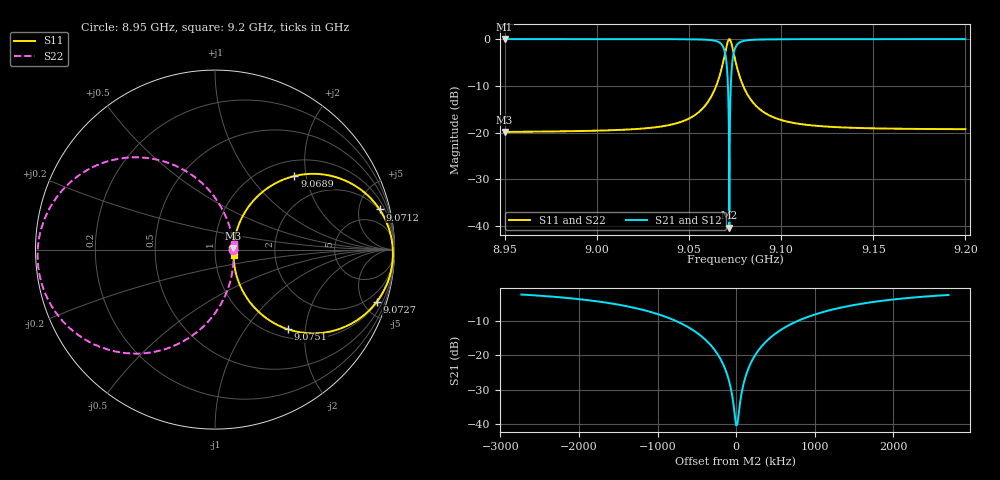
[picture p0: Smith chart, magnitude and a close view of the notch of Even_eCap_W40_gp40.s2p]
! Sonnet Data File
! From: emgraph Version : 16.52
! From Project: Resonator2_extremeCap
! Data is De-embedded
! Data File Written: 10/11/2017 17:55:29
!< HDATE 10/10/2017 20:37:37
!< MDATE 10/10/2017 20:37:37
!< PARAMS
!< Pwid1 = 2000.0
!< Pwid2 = 2000.0
!< Air_gap = 24.0
!< Width = 40.0
!< Gap = 40.0
!< END PARAMS
# GHZ S MA R 50.70000
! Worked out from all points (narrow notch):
!   1844 points, 8.95 GHz to 9.2 GHz, reference 50.7 ohm
!   highest |S21| = -0.05 dB at 8.95 GHz (marker M1); lowest = -40.3 dB at 9.0719 GHz (marker M2)
!   notch at M2: 40.2 dB deep, 456 kHz wide at half that depth
!   lowest |S11| = -19.9 dB at 8.95 GHz (marker M3), VSWR 1.23, Z = 62.1 + j1.11 ohm
!   |S11| at or under -10 dB: start of sweep to 9.0648 GHz; 9.0794 GHz to end of sweep
!   |S22| runs from -19.9 to -0.1 dB; largest |S21 - S12| = 0
!   S11 on the Smith chart (normalised r, x): 8.95 GHz: 1.22, +0.02; 9.0689 GHz: 1.33, +1.71; 9.0712 GHz: 1.92, +7.87; 9.0727 GHz: 1.09, -6.18; 9.0751 GHz: 1.16, -1.61; 9.2 GHz: 1.23, -0.07
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8.95  0.1016 5.0  0.9948 -88.5  0.9948 -88.5  0.1016 -1.9
!< P1 F=8.95 Eeff=(6.44311072 -2.9701e-5) Z0=(50.4816225 1.16464e-4) R=0.0 C=0.0
!< P2 F=8.95 Eeff=(6.44311072 -2.9701e-5) Z0=(50.4816225 1.16464e-4) R=0.0 C=0.0
8.9918  0.1039 9.3  0.9946 -89.5  0.9946 -89.5  0.1039 -8.2
9.0334  0.115 22.1  0.9933 -91.6  0.9933 -91.6  0.1149 -25.4
9.0576  0.1822 45.1  0.9831 -97.6  0.9831 -97.6  0.1819 -60.4
9.0658  0.3572 51.7  0.9329 -109.1  0.9329 -109.1  0.3565 -90.2
9.068901  0.6028 42.8  0.7941 -125.6  0.7941 -125.6  0.6017 -114.9
9.070394  0.8253 27.6  0.5545 -144.4  0.5545 -144.4  0.8237 -137.9
9.071193  0.944 13.7  0.3064 -159.5  0.3064 -159.5  0.9422 -155.9
9.071594  0.9808 5.3  0.1479 -167.0  0.1479 -167.0  0.9789 -166.3
9.071847  0.9909 -0.2  0.04121 -163.8  0.04121 -163.8  0.989 -173.2
9.071934  0.9917 -2.2  0.009667 -107.0  0.009667 -107.0  0.9898 -175.6
9.071996  0.9915 -3.5  0.02545 -21.5  0.02545 -21.5  0.9896 -177.3
9.072234  0.9841 -8.8  0.1252 -10.3  0.1252 -10.3  0.9823 176.3
9.072668  0.9472 -17.9  0.2974 -18.1  0.2974 -18.1  0.9455 165.0
9.073623  0.8062 -33.9  0.5829 -35.6  0.5829 -35.6  0.8048 144.0
9.075  0.6078 -47.2  0.7905 -52.1  0.7905 -52.1  0.6067 123.8
9.075062  0.6003 -47.6  0.7963 -52.6  0.7963 -52.6  0.5993 123.1
9.079027  0.3291 -56.6  0.9435 -70.8  0.9435 -70.8  0.3286 95.3
9.087804  0.1818 -49.5  0.9832 -80.6  0.9832 -80.6  0.1816 68.5
9.1168  0.1192 -28.8  0.9928 -86.2  0.9928 -86.2  0.1192 36.5
9.1584  0.1102 -19.2  0.9939 -88.0  0.9939 -88.0  0.1102 23.2
9.2  0.1087 -15.7  0.9941 -88.9  0.9941 -88.9  0.1087 17.9
